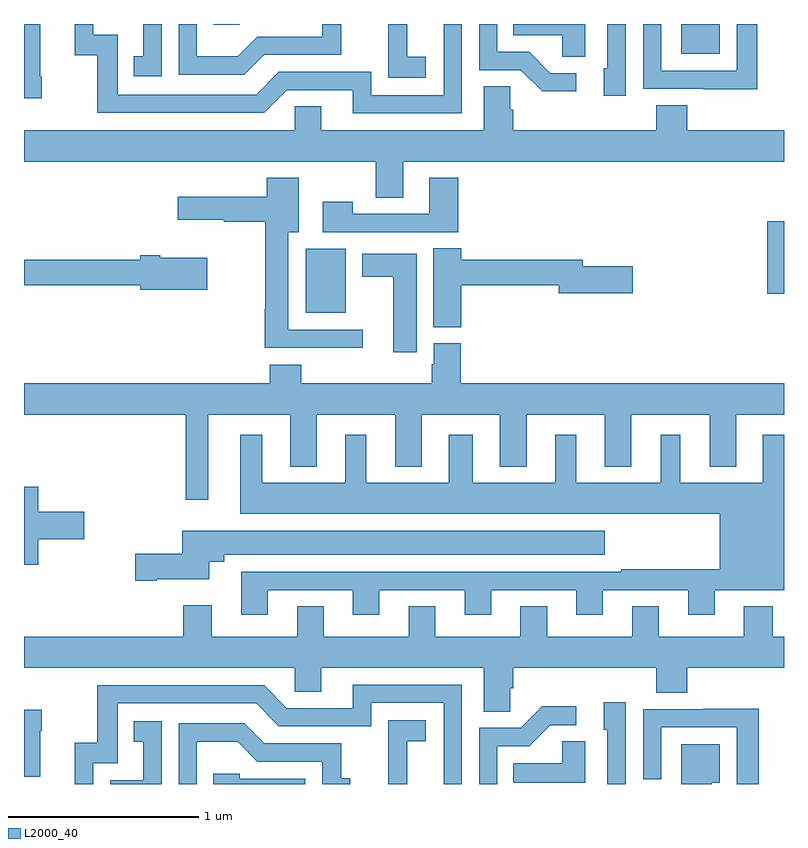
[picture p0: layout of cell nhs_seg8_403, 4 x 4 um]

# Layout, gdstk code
import gdstk
lib = gdstk.Library(unit=1e-6, precision=1e-09)
def R(c, l, rs):  # rectangles x0, y0, x1, y1
    for r in rs: c.add(gdstk.rectangle(r[:2], r[2:], *l))
def P(c, l, *ps):  # polygons
    for p in ps: c.add(gdstk.Polygon(p, *l))
L2000_40 = (2000, 40)

nhs_seg8_403 = lib.new_cell('nhs_seg8_403')
R(nhs_seg8_403, L2000_40, [(138.482,1106.381,138.694,1106.716), (140.912,1106.481,141,1106.862), (140.459,1107.743,140.662,1107.9), (137.995,1107.897,138.135,1107.9)])
P(nhs_seg8_403, L2000_40, [(139.906,1107.642),(139.771,1107.642),(139.66,1107.753),(139.491,1107.753),(139.491,1107.9),(139.395,1107.9),(139.395,1107.657),(139.614,1107.657),(139.727,1107.545),(139.906,1107.545)],
  [(140.86,1107.9),(140.751,1107.9),(140.751,1107.654),(140.355,1107.654),(140.355,1107.9),(140.259,1107.9),(140.259,1107.558),(140.575,1107.558),(140.575,1107.557),(140.86,1107.557)],
  [(140.166,1107.9),(140.07,1107.9),(140.07,1107.666),(140.051,1107.666),(140.051,1107.522),(140.166,1107.522)],
  [(139.954,1107.9),(139.576,1107.9),(139.576,1107.842),(139.833,1107.842),(139.833,1107.727),(139.954,1107.727)],
  [(138.265,1107.738),(138.669,1107.738),(138.669,1107.9),(138.57,1107.9),(138.57,1107.834),(138.228,1107.834),(138.124,1107.73),(137.91,1107.73),(137.91,1107.9),(137.814,1107.9),(137.814,1107.633),(138.16,1107.633)],
  [(137.094,1107.622),(137.086,1107.622),(137.086,1107.9),(137,1107.9),(137,1107.51),(137.094,1107.51)],
  [(137.724,1107.9),(137.627,1107.9),(137.627,1107.729),(137.578,1107.729),(137.578,1107.624),(137.724,1107.624)],
  [(139.114,1107.727),(139.016,1107.727),(139.016,1107.9),(138.917,1107.9),(138.917,1107.823),(138.916,1107.823),(138.916,1107.617),(139.114,1107.617)],
  [(139.305,1107.9),(139.209,1107.9),(139.209,1107.525),(138.828,1107.525),(138.828,1107.648),(138.342,1107.648),(138.222,1107.528),(137.493,1107.528),(137.493,1107.843),(137.364,1107.843),(137.364,1107.9),(137.267,1107.9),(137.267,1107.735),(137.385,1107.735),(137.385,1107.432),(138.264,1107.432),(138.384,1107.552),(138.731,1107.552),(138.731,1107.429),(139.305,1107.429)],
  [(138.997,1107.176),(141,1107.176),(141,1107.34),(140.492,1107.34),(140.492,1107.473),(140.327,1107.473),(140.327,1107.34),(139.574,1107.34),(139.574,1107.449),(139.56,1107.449),(139.56,1107.572),(139.421,1107.572),(139.421,1107.34),(138.565,1107.34),(138.565,1107.467),(138.426,1107.467),(138.426,1107.34),(137,1107.34),(137,1107.176),(138.85,1107.176),(138.85,1106.986),(138.997,1106.986)],
  [(139.286,1107.091),(139.133,1107.091),(139.133,1106.901),(138.729,1106.901),(138.729,1106.965),(138.573,1106.965),(138.573,1106.805),(139.286,1106.805)],
  [(138.784,1106.292),(138.391,1106.292),(138.391,1106.804),(138.445,1106.804),(138.445,1107.091),(138.278,1107.091),(138.278,1106.992),(137.808,1106.992),(137.808,1106.87),(138.051,1106.87),(138.051,1106.858),(138.271,1106.858),(138.271,1106.399),(138.266,1106.399),(138.266,1106.195),(138.784,1106.195)],
  [(139.301,1106.524),(139.814,1106.524),(139.814,1106.482),(140.203,1106.482),(140.203,1106.624),(139.942,1106.624),(139.942,1106.66),(139.301,1106.66),(139.301,1106.72),(139.154,1106.72),(139.154,1106.305),(139.301,1106.305)],
  [(139.066,1106.692),(138.779,1106.692),(138.779,1106.57),(138.944,1106.57),(138.944,1106.172),(139.066,1106.172)],
  [(137.965,1106.671),(137.716,1106.671),(137.716,1106.684),(137.612,1106.684),(137.612,1106.66),(137,1106.66),(137,1106.524),(137.612,1106.524),(137.612,1106.501),(137.965,1106.501)],
  [(137.971,1105.844),(138.401,1105.844),(138.401,1105.571),(138.541,1105.571),(138.541,1105.844),(138.953,1105.844),(138.953,1105.571),(139.093,1105.571),(139.093,1105.844),(139.505,1105.844),(139.505,1105.571),(139.645,1105.571),(139.645,1105.844),(140.057,1105.844),(140.057,1105.571),(140.197,1105.571),(140.197,1105.844),(140.609,1105.844),(140.609,1105.571),(140.749,1105.571),(140.749,1105.844),(141,1105.844),(141,1106.008),(139.298,1106.008),(139.298,1106.22),(139.157,1106.22),(139.157,1106.109),(139.145,1106.109),(139.145,1106.008),(138.458,1106.008),(138.458,1106.107),(138.293,1106.107),(138.293,1106.008),(137,1106.008),(137,1105.844),(137.85,1105.844),(137.85,1105.395),(137.971,1105.395)],
  [(138.283,1104.921),(138.731,1104.921),(138.731,1104.792),(138.871,1104.792),(138.871,1104.921),(139.319,1104.921),(139.319,1104.792),(139.459,1104.792),(139.459,1104.921),(139.907,1104.921),(139.907,1104.792),(140.047,1104.792),(140.047,1104.921),(140.495,1104.921),(140.495,1104.792),(140.635,1104.792),(140.635,1104.92),(141,1104.92),(141,1105.738),(140.888,1105.738),(140.888,1105.486),(140.455,1105.486),(140.455,1105.738),(140.351,1105.738),(140.351,1105.486),(139.906,1105.486),(139.906,1105.738),(139.796,1105.738),(139.796,1105.486),(139.363,1105.486),(139.363,1105.738),(139.235,1105.738),(139.235,1105.486),(138.802,1105.486),(138.802,1105.738),(138.692,1105.738),(138.692,1105.486),(138.253,1105.486),(138.253,1105.738),(138.137,1105.738),(138.137,1105.322),(140.663,1105.322),(140.663,1105.03),(140.143,1105.03),(140.143,1105.017),(138.143,1105.017),(138.143,1104.792),(138.283,1104.792)],
  [(137.074,1105.187),(137.317,1105.187),(137.317,1105.334),(137.074,1105.334),(137.074,1105.465),(137,1105.465),(137,1105.055),(137.074,1105.055)],
  [(137.698,1104.977),(137.974,1104.977),(137.974,1105.07),(138.055,1105.07),(138.055,1105.106),(140.056,1105.106),(140.056,1105.234),(137.834,1105.234),(137.834,1105.112),(137.586,1105.112),(137.586,1104.97),(137.698,1104.97)],
  [(139.56,1104.403),(139.574,1104.403),(139.574,1104.512),(140.327,1104.512),(140.327,1104.379),(140.492,1104.379),(140.492,1104.512),(141,1104.512),(141,1104.676),(140.942,1104.676),(140.942,1104.835),(140.789,1104.835),(140.789,1104.676),(140.341,1104.676),(140.341,1104.836),(140.201,1104.836),(140.201,1104.676),(139.753,1104.676),(139.753,1104.836),(139.613,1104.836),(139.613,1104.676),(139.165,1104.676),(139.165,1104.836),(139.025,1104.836),(139.025,1104.676),(138.577,1104.676),(138.577,1104.836),(138.437,1104.836),(138.437,1104.676),(137.989,1104.676),(137.989,1104.841),(137.837,1104.841),(137.837,1104.676),(137,1104.676),(137,1104.512),(138.426,1104.512),(138.426,1104.385),(138.565,1104.385),(138.565,1104.512),(139.421,1104.512),(139.421,1104.28),(139.56,1104.28)],
  [(137.364,1104.009),(137.493,1104.009),(137.493,1104.324),(138.222,1104.324),(138.342,1104.204),(138.828,1104.204),(138.828,1104.327),(139.209,1104.327),(139.209,1103.9),(139.305,1103.9),(139.305,1104.423),(138.731,1104.423),(138.731,1104.3),(138.384,1104.3),(138.264,1104.42),(137.385,1104.42),(137.385,1104.118),(137.267,1104.118),(137.267,1103.9),(137.364,1103.9)],
  [(140.166,1104.331),(140.051,1104.331),(140.051,1104.186),(140.07,1104.186),(140.07,1103.9),(140.166,1103.9)],
  [(139.491,1104.099),(139.66,1104.099),(139.771,1104.21),(139.906,1104.21),(139.906,1104.308),(139.727,1104.308),(139.614,1104.195),(139.395,1104.195),(139.395,1103.9),(139.491,1103.9)],
  [(140.867,1104.296),(140.575,1104.296),(140.575,1104.294),(140.259,1104.294),(140.259,1103.925),(140.355,1103.925),(140.355,1104.198),(140.751,1104.198),(140.751,1103.9),(140.867,1103.9)],
  [(137.086,1104.179),(137.094,1104.179),(137.094,1104.292),(137,1104.292),(137,1103.939),(137.086,1103.939)],
  [(139.016,1104.125),(139.114,1104.125),(139.114,1104.235),(138.916,1104.235),(138.916,1104.029),(138.917,1104.029),(138.917,1103.9),(139.016,1103.9)],
  [(137.724,1104.229),(137.578,1104.229),(137.578,1104.123),(137.627,1104.123),(137.627,1103.919),(137.454,1103.919),(137.454,1103.9),(137.724,1103.9)],
  [(137.91,1104.122),(138.124,1104.122),(138.228,1104.018),(138.57,1104.018),(138.57,1103.9),(138.718,1103.9),(138.718,1103.929),(138.669,1103.929),(138.669,1104.114),(138.265,1104.114),(138.16,1104.219),(137.814,1104.219),(137.814,1103.9),(137.91,1103.9)],
  [(139.954,1104.125),(139.833,1104.125),(139.833,1104.01),(139.576,1104.01),(139.576,1103.906),(139.954,1103.906)],
  [(140.62,1103.906),(140.662,1103.906),(140.662,1104.109),(140.459,1104.109),(140.459,1103.9),(140.62,1103.9)],
  [(138.48,1103.928),(138.135,1103.928),(138.135,1103.955),(137.995,1103.955),(137.995,1103.9),(138.48,1103.9)])

lib.write_gds('nhs_seg8_403.gds')
